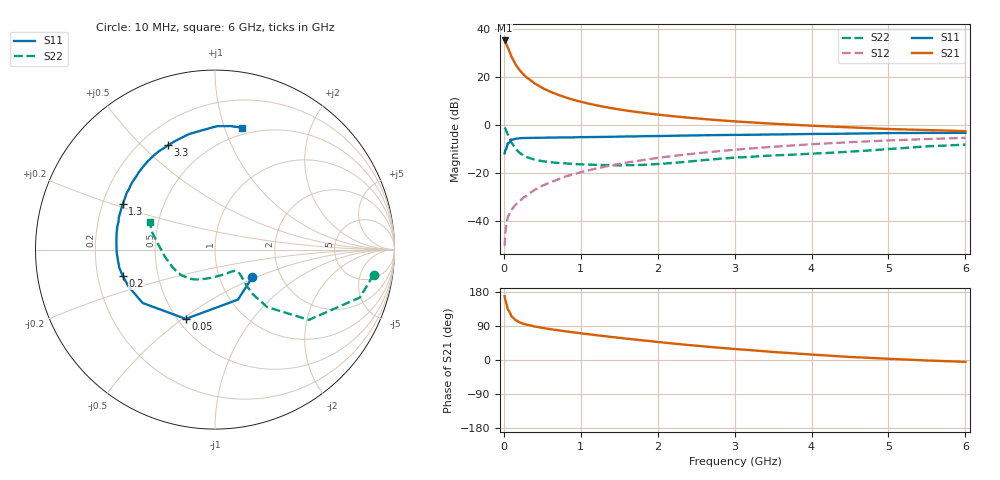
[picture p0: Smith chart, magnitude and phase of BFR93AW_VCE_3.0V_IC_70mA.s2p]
! Infineon Technologies  Discrete & RF Semiconductors
! BFR93AW
! VCE =  3.0 V,  IC =  70 mA
! Common Emitter S-Parameters:  Jan 2017
# GHz  S  MA  R  50
!  f  S11  S21  S12  S22
! GHz  MAG  ANG  MAG  ANG  MAG  ANG  MAG  ANG
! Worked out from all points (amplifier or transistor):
!   77 points, 10 MHz to 6 GHz, reference 50 ohm
!   highest |S21| = 35.4 dB at 10 MHz (marker M1)
!   |S21| within 3 dB of that: start of sweep to 51.86 MHz
!   unconditionally stable (mu >= 1): 264.8 MHz to 2.489 GHz
!   at 130 MHz: K = 0.76, MSG = 30.4 dB, |S12| = -34.0 dB
!   at 2.2 GHz: K = 1.02, MAG = 7.4 dB, |S12| = -12.8 dB
!   at 6 GHz: K = 0.95, MSG = 1.4 dB, |S12| = -5.3 dB
!   S11 on the Smith chart (normalised r, x): 10 MHz: 1.44, -0.47; 50 MHz: 0.55, -0.51; 200 MHz: 0.31, -0.13; 1.3 GHz: 0.29, +0.22; 3.3 GHz: 0.31, +0.60; 6 GHz: 0.43, +1.14
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0.01  0.2591 -36.3  58.95 168.5  0.003 76.1  0.8944 -9.0
0.02  0.3066 -65.4  56.65 157.9  0.0058 71.6  0.8504 -18.3
0.05  0.419 -112.9  42.39 134.0  0.0119 63.5  0.6525 -36.9
0.1  0.5011 -143.6  26.73 114.7  0.0171 59.8  0.432 -47.8
0.15  0.5234 -156.7  18.9 105.5  0.0219 61.1  0.3249 -49.7
0.2  0.5348 -164.1  14.49 99.9  0.0254 64.7  0.2705 -48.8
0.25  0.5427 -169.4  11.76 95.9  0.0308 66.5  0.2376 -47.2
0.3  0.5438 -173.2  9.85 93.1  0.0344 69.3  0.2161 -45.9
0.4  0.5481 -178.8  7.482 88.4  0.0446 71.6  0.1924 -44.3
0.5  0.5502 176.7  6.019 84.8  0.0546 72.7  0.1787 -44.0
0.6  0.553 173.0  5.058 81.5  0.0641 72.6  0.1697 -44.7
0.7  0.5565 170.0  4.356 78.7  0.0738 74.0  0.1642 -46.1
0.9  0.5594 163.9  3.419 73.1  0.0946 73.1  0.1564 -50.7
1.1  0.567 158.7  2.841 68.1  0.1148 72.5  0.1512 -56.3
1.3  0.5731 153.7  2.433 63.2  0.1353 71.2  0.148 -63.3
1.6  0.5847 147.1  2.026 56.2  0.1668 68.7  0.1473 -75.7
2.1  0.6006 136.4  1.609 45.6  0.2185 64.1  0.1592 -98.6
3.1  0.6323 117.8  1.18 27.6  0.3177 53.3  0.2152 -132.3
3.3  0.6368 114.2  1.127 24.5  0.3367 51.0  0.2246 -137.7
4.1  0.6609 101.2  0.966 13.1  0.4106 41.8  0.2597 -160.2
5.1  0.6883 87.8  0.828 2.3  0.4888 30.1  0.3273 172.2
6  0.6955 77.7  0.755 -4.9  0.5459 19.9  0.3951 157.0
